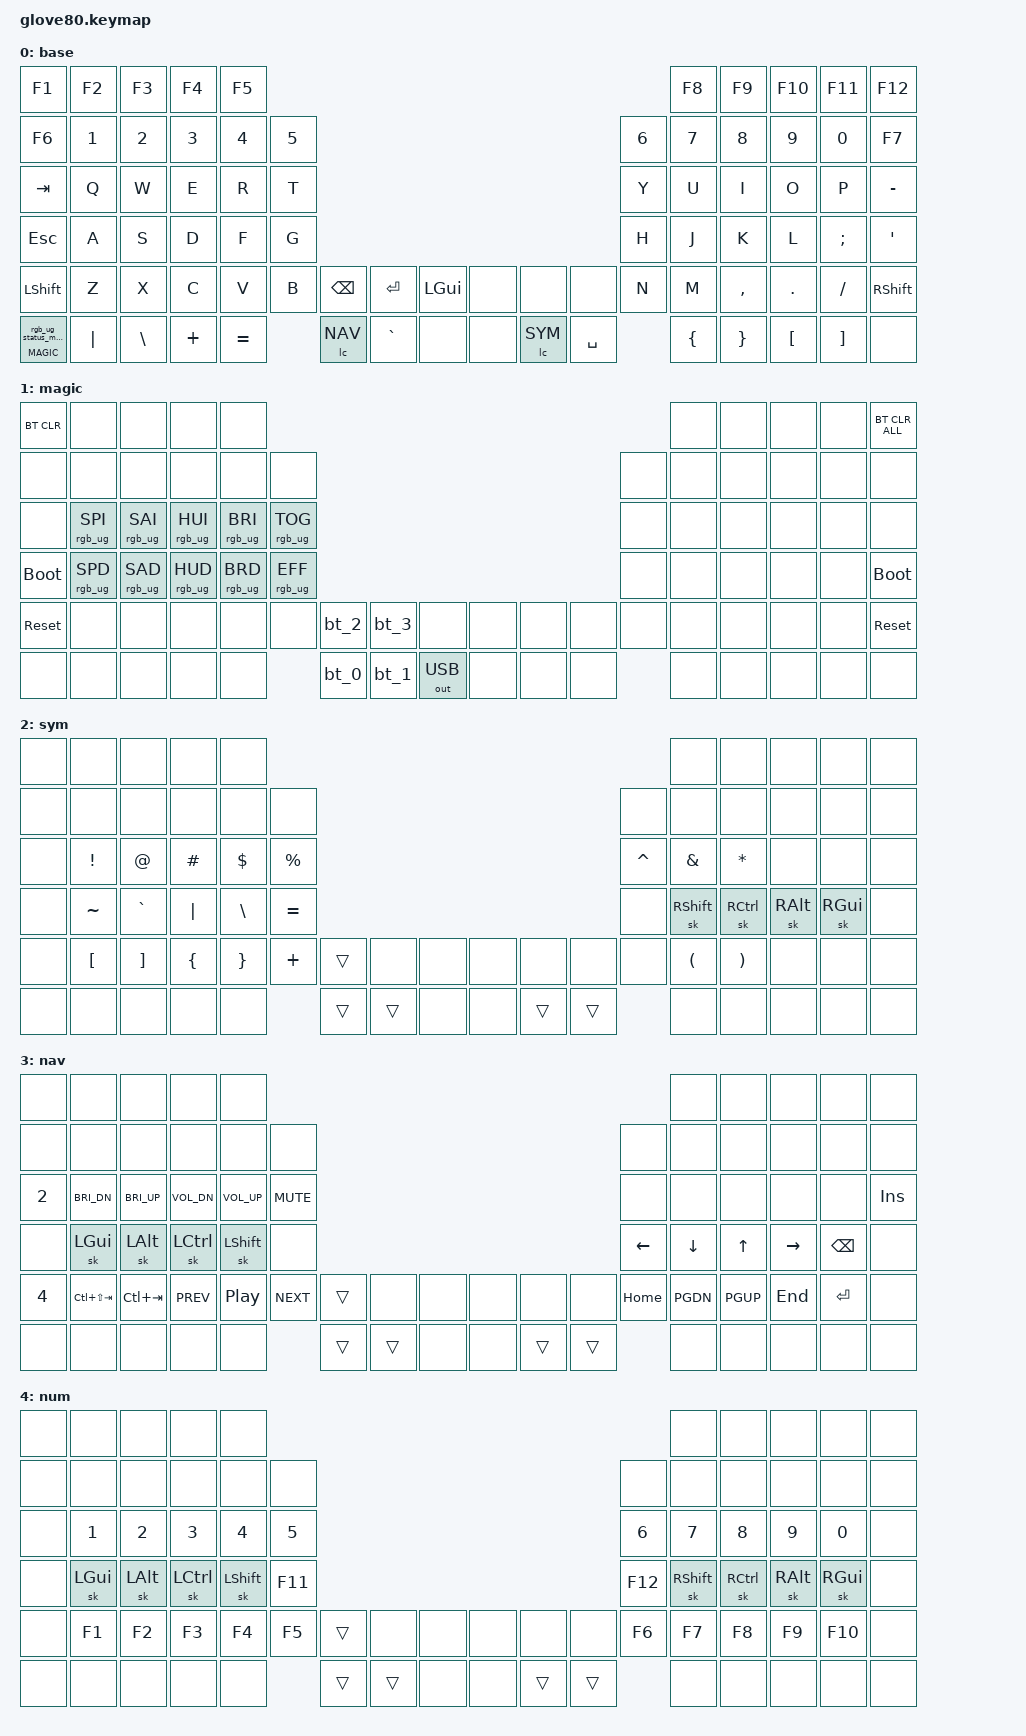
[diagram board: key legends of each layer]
/*
 * Copyright (c) 2020 The ZMK Contributors
 *
 * SPDX-License-Identifier: MIT
 */

#include <behaviors.dtsi>
#include <dt-bindings/zmk/keys.h>
#include <dt-bindings/zmk/bt.h>
#include <dt-bindings/zmk/ext_power.h>
#include <dt-bindings/zmk/outputs.h>
#include <dt-bindings/zmk/rgb.h>

#define HYPER LC(LS(LG(LALT)))

// layers
#define BASE 0
#define MAGIC 1
#define SYM 2
#define NAV 3
#define NUM 4


&sk {
    quick-release; // Avoids "THis" problem (double capitalization)
    release-after-ms = <86400000>;// Default is 1000 ms, raised to 1 day to emulate Callum's behavior that requires canceling on layer key.
};
&caps_word { continue-list = <UNDERSCORE MINUS BACKSPACE DELETE LSHFT SQT CARET TILDE GRAVE>; };


/ {
    behaviors {
        magic: magic_hold_tap {
            compatible = "zmk,behavior-hold-tap";
            label = "MAGIC_HOLD_TAP";
            #binding-cells = <2>;
            flavor = "tap-preferred";
            tapping-term-ms = <200>;
            bindings = <&mo>, <&rgb_ug_status_macro>;
        };
    };

    macros {
        rgb_ug_status_macro: rgb_ug_status_macro_0 {
            label = "RGB_UG_STATUS";
            compatible = "zmk,behavior-macro";
            #binding-cells = <0>;
            bindings
                = <&rgb_ug RGB_STATUS>;
        };

        bt_0: bt_profile_macro_0 {
            label = "BT_0";
            compatible = "zmk,behavior-macro";
            #binding-cells = <0>;
            bindings
                = <&out OUT_BLE>,
                  <&bt BT_SEL 0>;
        };

        bt_1: bt_profile_macro_1 {
            label = "BT_1";
            compatible = "zmk,behavior-macro";
            #binding-cells = <0>;
            bindings
                = <&out OUT_BLE>,
                  <&bt BT_SEL 1>;
        };

        bt_2: bt_profile_macro_2 {
            label = "BT_2";
            compatible = "zmk,behavior-macro";
            #binding-cells = <0>;
            bindings
                = <&out OUT_BLE>,
                  <&bt BT_SEL 2>;
        };

        bt_3: bt_profile_macro_3 {
            label = "BT_3";
            compatible = "zmk,behavior-macro";
            #binding-cells = <0>;
            bindings
                = <&out OUT_BLE>,
                  <&bt BT_SEL 3>;
        };

        lc: mo_layer_switch_with_an_embeded_cancel_tap_for_clearing_any_queued_sticky_mods_on_layer_activation {
            compatible = "zmk,behavior-macro-one-param";
            label = "mo_layer/cancel";
            wait-ms = <0>;
            tap-ms = <0>;
            #binding-cells = <1>;
            bindings =
                <&macro_tap>,
                <&kp K_CANCEL &macro_param_1to1>,
                <&macro_press>,
                <&mo MACRO_PLACEHOLDER>,
                <&macro_pause_for_release>,
                <&macro_param_1to1>,
                <&macro_release>,
                <&mo MACRO_PLACEHOLDER>;
        };
    };
    
    conditional_layers {
        compatible = "zmk,conditional-layers";

        tri_layer_for_function_and_number_row_keys {
            if-layers = <NAV SYM>;
            then-layer = <NUM>;
        };
    };

    keymap {
        compatible = "zmk,keymap";

        base {
            bindings = <
&kp F1          &kp F2     &kp F3     &kp F4    &kp F5                                                                          &kp F8     &kp F9     &kp F10   &kp F11     &kp F12    
&kp F6          &kp N1     &kp N2     &kp N3    &kp N4    &kp N5                                                        &kp N6  &kp N7     &kp N8     &kp N9    &kp N0      &kp F7     
&kp TAB         &kp Q      &kp W      &kp E     &kp R     &kp T                                                         &kp Y   &kp U      &kp I      &kp O     &kp P       &kp MINUS  
&kp ESC         &kp A      &kp S      &kp D     &kp F     &kp G                                                         &kp H   &kp J      &kp K      &kp L     &kp SEMI    &kp SQT    
&kp LSHFT       &kp Z      &kp X      &kp C     &kp V     &kp B   &kp BSPC &kp RET     &kp LGUI &none  &none    &none   &kp N   &kp M      &kp COMMA  &kp DOT   &kp FSLH    &kp RSHFT  
&magic MAGIC 0  &kp PIPE   &kp BSLH   &kp PLUS  &kp EQUAL         &lc NAV  &kp GRAVE   &none    &none  &lc SYM  &kp SPACE       &kp LBRC   &kp RBRC   &kp LBKT  &kp RBKT    &none      
            >;
        };

        magic {
bindings = <
&bt BT_CLR        &none               &none           &none           &none                                                                                                           &none      &none      &none      &none      &bt BT_CLR_ALL
&none             &none               &none           &none           &none           &none                                                                                &none      &none      &none      &none      &none      &none
&none             &rgb_ug RGB_SPI     &rgb_ug RGB_SAI &rgb_ug RGB_HUI &rgb_ug RGB_BRI &rgb_ug RGB_TOG                                                                      &none      &none      &none      &none      &none      &none
&bootloader       &rgb_ug RGB_SPD     &rgb_ug RGB_SAD &rgb_ug RGB_HUD &rgb_ug RGB_BRD &rgb_ug RGB_EFF                                                                      &none      &none      &none      &none      &none      &bootloader
&sys_reset        &none               &none           &none           &none           &none           &bt_2     &bt_3     &none            &none     &none     &none       &none      &none      &none      &none      &none      &sys_reset
&none             &none               &none           &none           &none                           &bt_0     &bt_1     &out OUT_USB     &none     &none     &none                  &none      &none      &none      &none      &none
            >;
        };

        sym {
            bindings = <
&none  &none      &none      &none     &none                                                                           &none      &none      &none      &none      &none      
&none  &none      &none      &none     &none       &none                                                    &none      &none      &none      &none      &none      &none      
&none  &kp EXCL   &kp AT     &kp HASH  &kp DOLLAR  &kp PRCNT                                                &kp CARET  &kp AMPS   &kp STAR   &none      &none      &none      
&none  &kp TILDE  &kp GRAVE  &kp PIPE  &kp BSLH    &kp EQUAL                                                &none      &sk RSHFT  &sk RCTRL  &sk RALT   &sk RGUI   &none      
&none  &kp LBKT   &kp RBKT   &kp LBRC  &kp RBRC    &kp PLUS   &trans  &none   &none  &none  &none   &none   &none      &kp LPAR   &kp RPAR   &none      &none      &none      
&none  &none      &none      &none     &none                  &trans  &trans  &none  &none  &trans  &trans             &none      &none      &none      &none      &none      
            >;
        };
        nav {
            bindings = <
&none   &none            &none         &none         &none                                                                             &none     &none     &none      &none     &none    
&none   &none            &none         &none         &none         &none                                                     &none     &none     &none     &none      &none     &none    
&kp N2  &kp C_BRI_DN     &kp C_BRI_UP  &kp C_VOL_DN  &kp C_VOL_UP  &kp C_MUTE                                                &none     &none     &none     &none      &none     &kp INS  
&none   &sk LGUI         &sk LALT      &sk LCTRL     &sk LSHFT     &none                                                     &kp LEFT  &kp DOWN  &kp UP    &kp RIGHT  &kp BSPC  &none    
&kp N4  &kp LC(LS(TAB))  &kp LC(TAB)   &kp C_PREV    &kp C_PP      &kp C_NEXT  &trans  &none   &none  &none  &none   &none   &kp HOME  &kp PGDN  &kp PGUP  &kp END    &kp RET   &none    
&none   &none            &none         &none         &none                     &trans  &trans  &none  &none  &trans  &trans            &none     &none     &none      &none     &none    
            >;
        };
        num {
            bindings = <
&none  &none     &none     &none      &none                                                                      &none      &none      &none     &none     &none  
&none  &none     &none     &none      &none      &none                                                  &none    &none      &none      &none     &none     &none  
&none  &kp N1    &kp N2    &kp N3     &kp N4     &kp N5                                                 &kp N6   &kp N7     &kp N8     &kp N9    &kp N0    &none  
&none  &sk LGUI  &sk LALT  &sk LCTRL  &sk LSHFT  &kp F11                                                &kp F12  &sk RSHFT  &sk RCTRL  &sk RALT  &sk RGUI  &none  
&none  &kp F1    &kp F2    &kp F3     &kp F4     &kp F5   &trans  &none   &none  &none  &none   &none   &kp F6   &kp F7     &kp F8     &kp F9    &kp F10   &none  
&none  &none     &none     &none      &none               &trans  &trans  &none  &none  &trans  &trans           &none      &none      &none     &none     &none  
            >;
        };
    };
};
